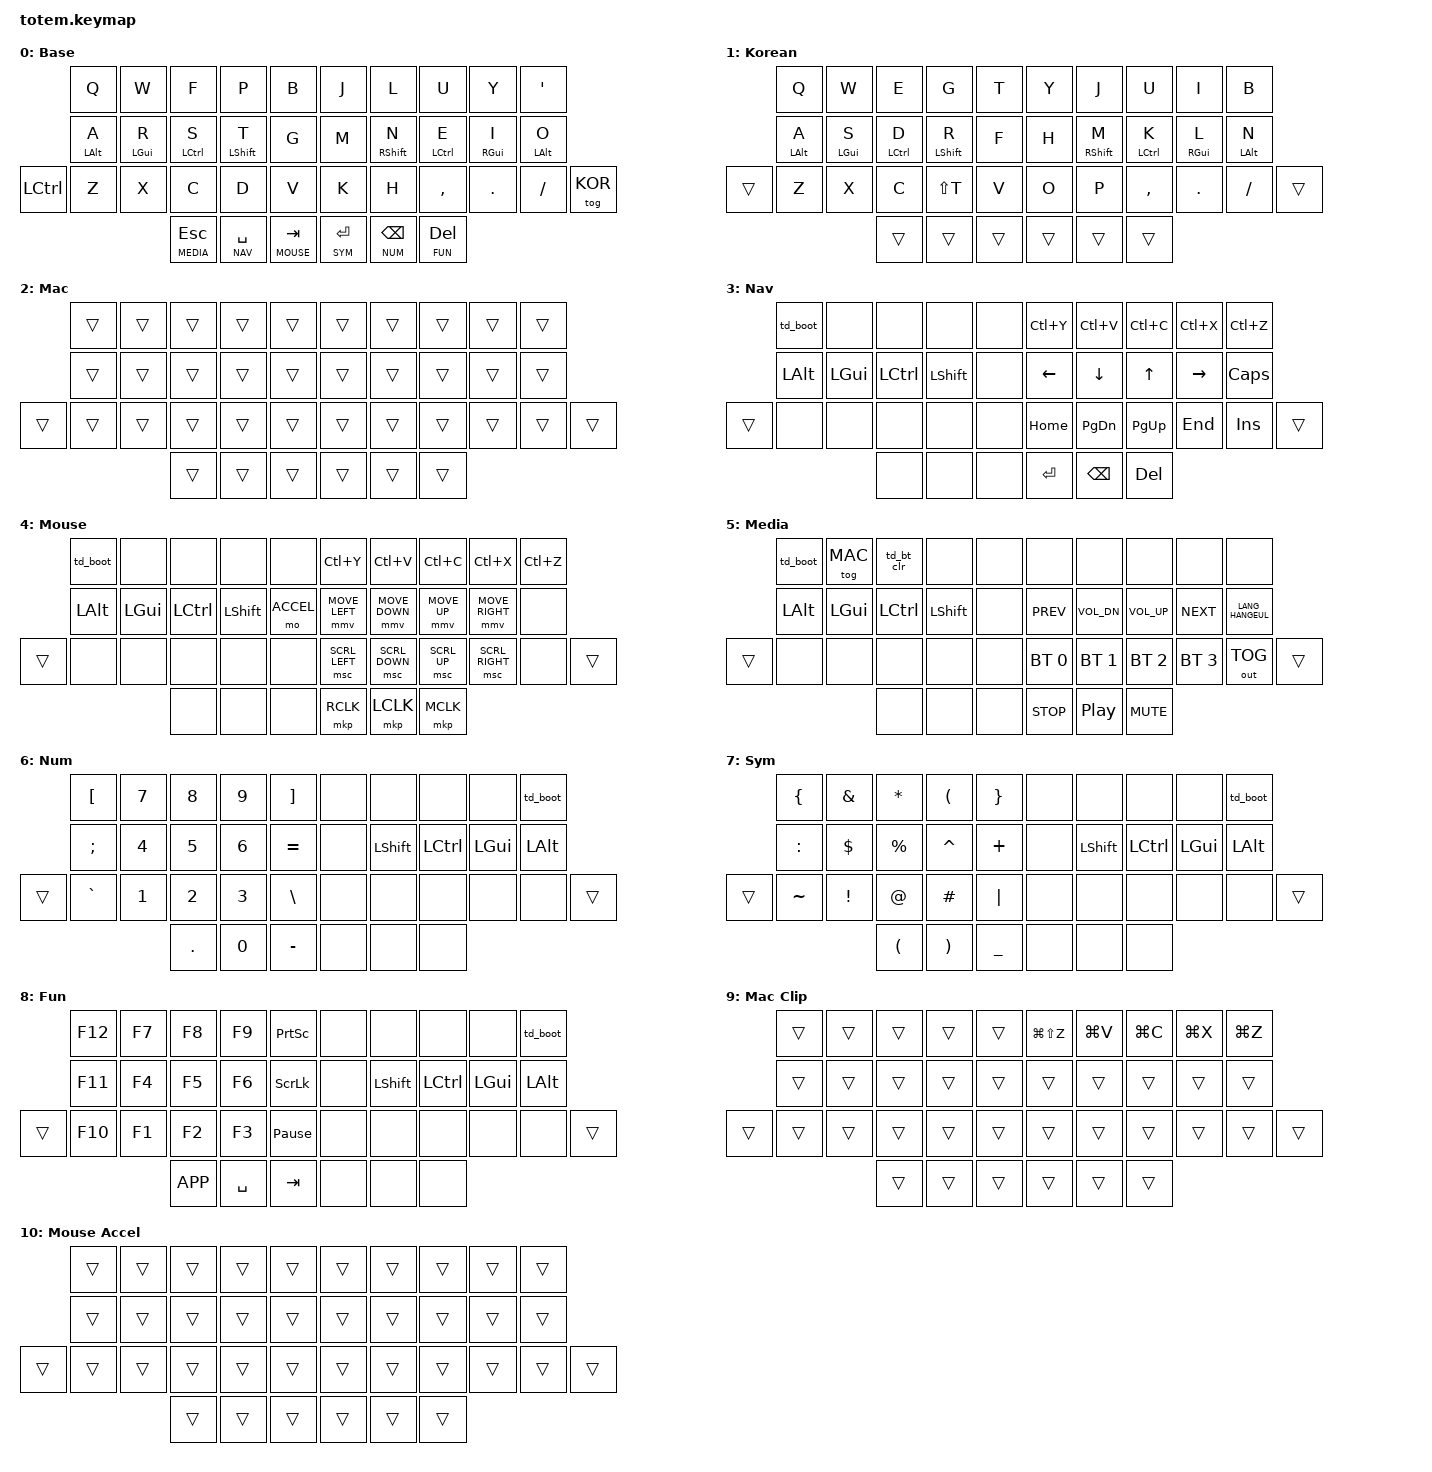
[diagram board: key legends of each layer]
// Miryoku layout for TOTEM (38 keys)
//   - Base: Colemak-DHm with GACS home row mods (Miryoku puts ' at the top right, ; is on NUM)
//   - Navigation: vim-style (MIRYOKU_NAV=VI), arrows on M N E I (= QWERTY H J K L)
//   - OS mode: Windows/Linux by default, MAC layer toggled from MEDIA switches
//     clipboard keys and the close-app combo to macOS
//   - KOR layer: 두줄이 (Dujul-e, https://github.com/Sinseiki/Dujul-e_keyboard),
//     emulated on top of the standard OS 2-set (두벌식) IME: each key sends the
//     QWERTY keycode that produces the 두줄이 jamo in standard 두벌식
//
// Key positions
//          0   1   2   3   4       5   6   7   8   9
//         10  11  12  13  14      15  16  17  18  19
//     20  21  22  23  24  25      26  27  28  29  30  31
//                 32  33  34      35  36  37
//
// The two outer bottom keys are TOTEM extras (not part of Miryoku):
//   20 = LCTRL, 31 = toggle KOR layer (keyboard layout only, OS input source untouched)
//
// OS input source switch: hold ESC thumb (MEDIA), tap position 19.
//
// OS mode does not survive a power cycle: the keyboard always boots in Windows/Linux mode.

#include <behaviors.dtsi>
#include <dt-bindings/zmk/bt.h>
#include <dt-bindings/zmk/keys.h>
#include <dt-bindings/zmk/outputs.h>
#include <dt-bindings/zmk/pointing.h>
#include <input/processors.dtsi>

#define BASE     0
#define KOR      1
#define MAC      2
#define NAV      3
#define MOUSE    4
#define MEDIA    5
#define NUM      6
#define SYM      7
#define FUN      8
#define MAC_CLIP 9
#define ACCEL    10

// Input source switch: Hangul key (Microsoft IME, fcitx5-hangul, ibus-hangul).
#define IME_SWITCH LANG_HANGEUL

// Clipboard, Windows / Linux
#define U_UND LC(Z)
#define U_CUT LC(X)
#define U_CPY LC(C)
#define U_PST LC(V)
#define U_RDO LC(Y)

// Clipboard, macOS
#define U_UND_MAC LG(Z)
#define U_CUT_MAC LG(X)
#define U_CPY_MAC LG(C)
#define U_PST_MAC LG(V)
#define U_RDO_MAC LG(LS(Z))

#define KEYS_L 0 1 2 3 4 10 11 12 13 14 20 21 22 23 24 25
#define KEYS_R 5 6 7 8 9 15 16 17 18 19 26 27 28 29 30 31
#define THUMBS 32 33 34 35 36 37

/ {
    behaviors {
        hml: home_row_mod_left {
            compatible = "zmk,behavior-hold-tap";
            #binding-cells = <2>;
            bindings = <&kp>, <&kp>;
            flavor = "tap-preferred";
            tapping-term-ms = <200>;
            quick-tap-ms = <175>;
            hold-trigger-key-positions = <KEYS_R THUMBS>;
            hold-trigger-on-release;
        };

        hmr: home_row_mod_right {
            compatible = "zmk,behavior-hold-tap";
            #binding-cells = <2>;
            bindings = <&kp>, <&kp>;
            flavor = "tap-preferred";
            tapping-term-ms = <200>;
            quick-tap-ms = <175>;
            hold-trigger-key-positions = <KEYS_L THUMBS>;
            hold-trigger-on-release;
        };

        thumb: thumb_layer_tap {
            compatible = "zmk,behavior-hold-tap";
            #binding-cells = <2>;
            bindings = <&mo>, <&kp>;
            flavor = "balanced";
            tapping-term-ms = <200>;
            quick-tap-ms = <175>;
        };

        // Double tap to enter bootloader, single tap does nothing
        td_boot: tap_dance_bootloader {
            compatible = "zmk,behavior-tap-dance";
            #binding-cells = <0>;
            tapping-term-ms = <200>;
            bindings = <&none>, <&bootloader>;
        };

        // Double tap to clear the current BT profile, single tap does nothing
        td_bt_clr: tap_dance_bt_clear {
            compatible = "zmk,behavior-tap-dance";
            #binding-cells = <0>;
            tapping-term-ms = <200>;
            bindings = <&none>, <&bt BT_CLR>;
        };
    };


    // Positions refer to the Colemak-DHm base letters
    combos {
        compatible = "zmk,combos";

        combo_caps_word {
            timeout-ms = <50>;
            require-prior-idle-ms = <150>;
            key-positions = <14 15>; // G + M
            bindings = <&caps_word>;
            layers = <BASE KOR MAC>;
        };

        combo_close_window {
            timeout-ms = <50>;
            require-prior-idle-ms = <150>;
            key-positions = <0 24>; // Q + D
            bindings = <&kp LA(F4)>;
            layers = <BASE KOR>;
        };

        combo_close_window_mac {
            timeout-ms = <50>;
            require-prior-idle-ms = <150>;
            key-positions = <0 24>; // Q + D
            bindings = <&kp LG(Q)>;
            layers = <MAC>;
        };

        combo_terminal {
            timeout-ms = <50>;
            require-prior-idle-ms = <150>;
            key-positions = <21 25>; // Z + V
            bindings = <&kp LC(GRAVE)>;
            layers = <BASE KOR MAC>;
        };
    };

    keymap {
        compatible = "zmk,keymap";

        //       ┌─────┬─────┬─────┬─────┬─────┐   ┌─────┬─────┬─────┬─────┬─────┐
        //       │  Q  │  W  │  F  │  P  │  B  │   │  J  │  L  │  U  │  Y  │  '  │
        //       │A/ALT│R/GUI│S/CTL│T/SFT│  G  │   │  M  │N/SFT│E/CTL│I/GUI│O/ALT│
        // ┌─────┼─────┼─────┼─────┼─────┼─────┤   ├─────┼─────┼─────┼─────┼─────┼─────┐
        // │LCTRL│  Z  │  X  │  C  │  D  │  V  │   │  K  │  H  │  ,  │  .  │  /  │ KOR │
        // └─────┴─────┴─────┼─────┼─────┼─────┤   ├─────┼─────┼─────┼─────┴─────┴─────┘
        //                   │ ESC │ SPC │ TAB │   │ ENT │BSPC │ DEL │
        //                   │MEDIA│ NAV │MOUSE│   │ SYM │ NUM │ FUN │
        base {
            display-name = "Base";
            bindings = <
                       &kp Q           &kp W          &kp F            &kp P            &kp B             &kp J          &kp L            &kp U            &kp Y           &kp SQT
                       &hml LALT A     &hml LGUI R    &hml LCTRL S     &hml LSHFT T     &kp G             &kp M          &hmr RSHFT N     &hmr LCTRL E     &hmr RGUI I     &hmr LALT O
            &kp LCTRL  &kp Z           &kp X          &kp C            &kp D            &kp V             &kp K          &kp H            &kp COMMA        &kp DOT         &kp FSLH         &tog KOR
                                                      &thumb MEDIA ESC &thumb NAV SPACE &thumb MOUSE TAB  &thumb SYM RET &thumb NUM BSPC  &thumb FUN DEL
            >;
        };

        // 두줄이 (shift: ㅂ→ㅃ ㅈ→ㅉ ㄷ→ㄸ ㄱ→ㄲ ㅐ→ㅒ ㅔ→ㅖ), home row mods kept
        //       ┌─────┬─────┬─────┬─────┬─────┐   ┌─────┬─────┬─────┬─────┬─────┐
        //       │ ㅂ  │ ㅈ  │ ㄷ  │ ㅎ  │ ㅅ  │   │ ㅛ  │ ㅓ  │ ㅕ  │ ㅑ  │ ㅠ  │
        //       │ ㅁ  │ ㄴ  │ ㅇ  │ ㄱ  │ ㄹ  │   │ ㅗ  │ ㅡ  │ ㅏ  │ ㅣ  │ ㅜ  │
        // ┌─────┼─────┼─────┼─────┼─────┼─────┤   ├─────┼─────┼─────┼─────┼─────┼─────┐
        // │LCTRL│ ㅋ  │ ㅌ  │ ㅊ  │ ㅆ  │ ㅍ  │   │ ㅐ  │ ㅔ  │  ,  │  .  │  /  │ ENG │
        // └─────┴─────┴─────┼─────┼─────┼─────┤   ├─────┼─────┼─────┼─────┴─────┴─────┘
        //                   │      thumbs same as Base      │
        kor {
            display-name = "Korean";
            bindings = <
                       &kp Q           &kp W          &kp E            &kp G            &kp T             &kp Y          &kp J            &kp U            &kp I           &kp B
                       &hml LALT A     &hml LGUI S    &hml LCTRL D     &hml LSHFT R     &kp F             &kp H          &hmr RSHFT M     &hmr LCTRL K     &hmr RGUI L     &hmr LALT N
            &trans     &kp Z           &kp X          &kp C            &kp LS(T)        &kp V             &kp O          &kp P            &kp COMMA        &kp DOT         &kp FSLH         &trans
                                                      &trans           &trans           &trans            &trans         &trans           &trans
            >;
        };

        // macOS mode flag, toggled from MEDIA. Overrides nothing itself; see conditional_layers.
        mac {
            display-name = "Mac";
            bindings = <
                       &trans          &trans         &trans           &trans           &trans            &trans         &trans           &trans           &trans          &trans
                       &trans          &trans         &trans           &trans           &trans            &trans         &trans           &trans           &trans          &trans
            &trans     &trans          &trans         &trans           &trans           &trans            &trans         &trans           &trans           &trans          &trans           &trans
                                                      &trans           &trans           &trans            &trans         &trans           &trans
            >;
        };

        // Vim-style: ← ↓ ↑ → on M N E I (QWERTY H J K L)
        //       ┌─────┬─────┬─────┬─────┬─────┐   ┌─────┬─────┬─────┬─────┬─────┐
        //       │BOOT²│     │     │     │     │   │ RDO │ PST │ CPY │ CUT │ UND │
        //       │ ALT │ GUI │ CTL │ SFT │     │   │  ←  │  ↓  │  ↑  │  →  │CAPS │
        // ┌─────┼─────┼─────┼─────┼─────┼─────┤   ├─────┼─────┼─────┼─────┼─────┼─────┐
        // │     │     │     │     │     │     │   │HOME │PGDN │PGUP │ END │ INS │     │
        // └─────┴─────┴─────┼─────┼─────┼─────┤   ├─────┼─────┼─────┼─────┴─────┴─────┘
        //                   │     │ ▓▓▓ │     │   │ ENT │BSPC │ DEL │
        nav {
            display-name = "Nav";
            bindings = <
                       &td_boot        &none          &none            &none            &none             &kp U_RDO      &kp U_PST        &kp U_CPY        &kp U_CUT       &kp U_UND
                       &kp LALT        &kp LGUI       &kp LCTRL        &kp LSHFT        &none             &kp LEFT       &kp DOWN         &kp UP           &kp RIGHT       &kp CAPS
            &trans     &none           &none          &none            &none            &none             &kp HOME       &kp PG_DN        &kp PG_UP        &kp END         &kp INS          &trans
                                                      &none            &none            &none             &kp RET        &kp BSPC         &kp DEL
            >;
        };

        mouse {
            display-name = "Mouse";
            bindings = <
                       &td_boot        &none          &none            &none            &none             &kp U_RDO          &kp U_PST          &kp U_CPY        &kp U_CUT           &kp U_UND
                       &kp LALT        &kp LGUI       &kp LCTRL        &kp LSHFT        &mo ACCEL         &mmv MOVE_LEFT     &mmv MOVE_DOWN     &mmv MOVE_UP     &mmv MOVE_RIGHT     &none
            &trans     &none           &none          &none            &none            &none             &msc SCRL_LEFT     &msc SCRL_DOWN     &msc SCRL_UP     &msc SCRL_RIGHT     &none    &trans
                                                      &none            &none            &none             &mkp RCLK          &mkp LCLK          &mkp MCLK
            >;
        };

        // Right hand follows Miryoku MEDIA (VI). The top row leaves Miryoku's RGB keys out
        // (TOTEM has no RGB); the input source switch sits on the home row pinky.
        // BT_CLR is a left hand double tap so reaching for the input source switch cannot clear a profile;
        // the external power toggle is left out (no ext-power on XIAO).
        media {
            display-name = "Media";
            bindings = <
                       &td_boot        &tog MAC       &td_bt_clr       &none            &none             &none          &none            &none            &none           &none
                       &kp LALT        &kp LGUI       &kp LCTRL        &kp LSHFT        &none             &kp C_PREV     &kp C_VOL_DN     &kp C_VOL_UP     &kp C_NEXT      &kp IME_SWITCH
            &trans     &none           &none          &none            &none            &none             &bt BT_SEL 0   &bt BT_SEL 1     &bt BT_SEL 2     &bt BT_SEL 3    &out OUT_TOG     &trans
                                                      &none            &none            &none             &kp C_STOP     &kp C_PP         &kp C_MUTE
            >;
        };

        num {
            display-name = "Num";
            bindings = <
                       &kp LBKT        &kp N7         &kp N8           &kp N9           &kp RBKT          &none          &none            &none            &none           &td_boot
                       &kp SEMI        &kp N4         &kp N5           &kp N6           &kp EQUAL         &none          &kp LSHFT        &kp LCTRL        &kp LGUI        &kp LALT
            &trans     &kp GRAVE       &kp N1         &kp N2           &kp N3           &kp BSLH          &none          &none            &none            &none           &none            &trans
                                                      &kp DOT          &kp N0           &kp MINUS         &none          &none            &none
            >;
        };

        sym {
            display-name = "Sym";
            bindings = <
                       &kp LBRC        &kp AMPS       &kp STAR         &kp LPAR         &kp RBRC          &none          &none            &none            &none           &td_boot
                       &kp COLON       &kp DLLR       &kp PRCNT        &kp CARET        &kp PLUS          &none          &kp LSHFT        &kp LCTRL        &kp LGUI        &kp LALT
            &trans     &kp TILDE       &kp EXCL       &kp AT           &kp HASH         &kp PIPE          &none          &none            &none            &none           &none            &trans
                                                      &kp LPAR         &kp RPAR         &kp UNDER         &none          &none            &none
            >;
        };

        fun {
            display-name = "Fun";
            bindings = <
                       &kp F12         &kp F7         &kp F8           &kp F9           &kp PSCRN         &none          &none            &none            &none           &td_boot
                       &kp F11         &kp F4         &kp F5           &kp F6           &kp SLCK          &none          &kp LSHFT        &kp LCTRL        &kp LGUI        &kp LALT
            &trans     &kp F10         &kp F1         &kp F2           &kp F3           &kp PAUSE_BREAK   &none          &none            &none            &none           &none            &trans
                                                      &kp K_APP        &kp SPACE        &kp TAB           &none          &none            &none
            >;
        };

        // macOS clipboard over NAV / MOUSE, activated by conditional_layers
        mac_clip {
            display-name = "Mac Clip";
            bindings = <
                       &trans          &trans         &trans           &trans           &trans            &kp U_RDO_MAC  &kp U_PST_MAC    &kp U_CPY_MAC    &kp U_CUT_MAC   &kp U_UND_MAC
                       &trans          &trans         &trans           &trans           &trans            &trans         &trans           &trans           &trans          &trans
            &trans     &trans          &trans         &trans           &trans           &trans            &trans         &trans           &trans           &trans          &trans           &trans
                                                      &trans           &trans           &trans            &trans         &trans           &trans
            >;
        };


        // Hold (&mo ACCEL on MOUSE) to double pointer speed, see &mmv_input_listener
        mouse_accel {
            display-name = "Mouse Accel";
            bindings = <
                       &trans          &trans         &trans           &trans           &trans            &trans         &trans           &trans           &trans          &trans
                       &trans          &trans         &trans           &trans           &trans            &trans         &trans           &trans           &trans          &trans
            &trans     &trans          &trans         &trans           &trans           &trans            &trans         &trans           &trans           &trans          &trans           &trans
                                                      &trans           &trans           &trans            &trans         &trans           &trans
            >;
        };
    };

    conditional_layers {
        compatible = "zmk,conditional-layers";

        mac_nav {
            if-layers = <MAC NAV>;
            then-layer = <MAC_CLIP>;
        };

        mac_mouse {
            if-layers = <MAC MOUSE>;
            then-layer = <MAC_CLIP>;
        };
    };
};

&mmv {
    acceleration-exponent = <2>;
};

&mmv_input_listener {
    accel {
        layers = <ACCEL>;
        input-processors = <&zip_xy_scaler 2 1>;
    };
};
